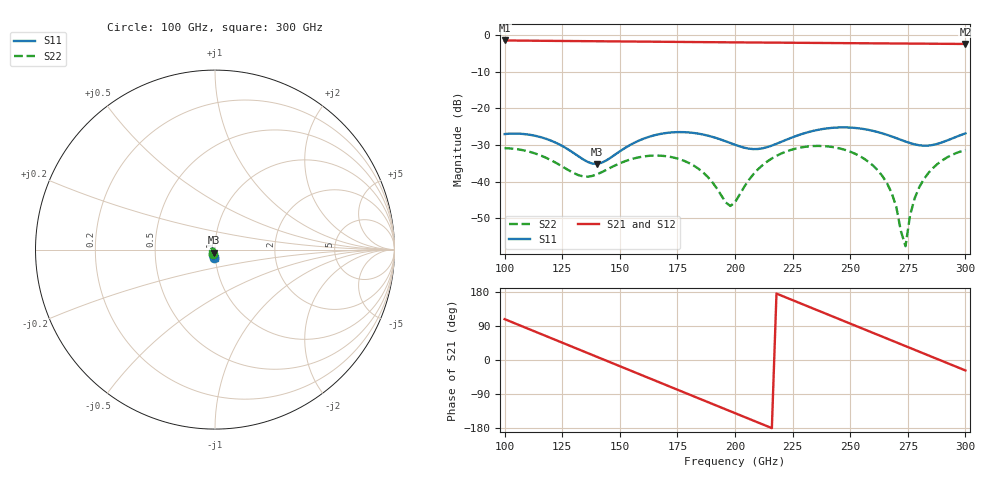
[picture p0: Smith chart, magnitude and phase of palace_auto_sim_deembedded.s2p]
! Created with skrf 1.11.0 (http://scikit-rf.org).
# GHz S DB R 50.0
!freq dBS11 angS11 dBS21 angS21 dBS12 angS12 dBS22 angS22
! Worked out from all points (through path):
!   101 points, 100 GHz to 300 GHz, reference 50 ohm
!   highest |S21| = -1.53 dB at 100 GHz (marker M1); lowest = -2.5 dB at 300 GHz (marker M2)
!   group delay of S21, straight-line fit = 6.88 ps
!   lowest |S11| = -35.2 dB at 140 GHz (marker M3), VSWR 1.04, Z = 49.6 - j1.68 ohm
!   |S11| at or under -10 dB: start of sweep to end of sweep
!   |S22| runs from -57.6 to -30.3 dB; largest |S21 - S12| = 9.2e-14
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100  -27.03 -94.9  -1.53 107.8  -1.53 107.8  -30.89 -109.0
116  -27.93 -121.9  -1.62 68.1  -1.62 68.1  -32.96 -137.2
134  -33.89 -125.0  -1.71 23.4  -1.71 23.4  -38.56 -129.7
140  -35.16 -104.0  -1.75 8.5  -1.75 8.5  -38.03 -114.8
154  -30.17 -79.4  -1.82 -26.2  -1.82 -26.2  -34.06 -115.1
168  -26.95 -93.5  -1.89 -61.0  -1.89 -61.0  -32.93 -139.1
184  -26.91 -114.5  -1.97 -100.6  -1.97 -100.6  -36.41 -168.5
196  -29.01 -121.7  -2.03 -130.3  -2.03 -130.3  -45.67 -152.0
200  -29.94 -119.9  -2.05 -140.2  -2.05 -140.2  -45.64 -108.9
214  -30.59 -95.9  -2.11 -174.8  -2.11 -174.8  -34.51 -95.5
224  -28.15 -88.8  -2.15 160.4  -2.15 160.4  -31.40 -116.4
234  -26.16 -94.3  -2.20 135.7  -2.20 135.7  -30.29 -140.0
246  -25.22 -107.0  -2.25 106.0  -2.25 106.0  -31.03 -169.3
256  -25.67 -117.7  -2.30 81.2  -2.30 81.2  -33.73 166.4
264  -26.85 -123.5  -2.33 61.4  -2.33 61.4  -38.48 148.2
268  -27.68 -124.3  -2.35 51.6  -2.35 51.6  -43.07 141.6
274  -29.06 -121.4  -2.37 36.7  -2.37 36.7  -57.57 -118.0
276  -29.48 -119.0  -2.38 31.8  -2.38 31.8  -49.12 -86.0
278  -29.84 -115.9  -2.39 26.8  -2.39 26.8  -44.48 -83.5
282  -30.20 -108.1  -2.41 16.9  -2.41 16.9  -39.29 -89.1
290  -29.26 -93.2  -2.44 -2.8  -2.44 -2.8  -34.19 -107.5
300  -26.85 -88.4  -2.49 -27.5  -2.49 -27.5  -31.40 -133.0
